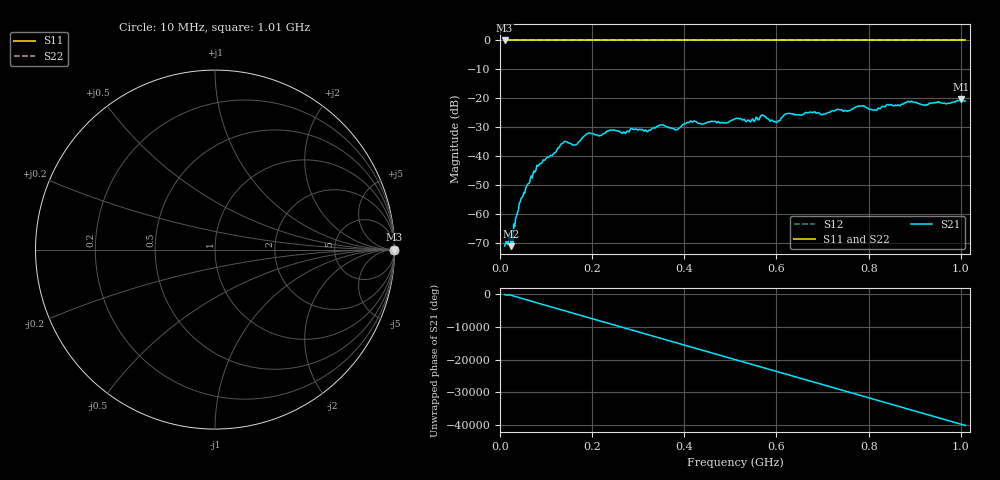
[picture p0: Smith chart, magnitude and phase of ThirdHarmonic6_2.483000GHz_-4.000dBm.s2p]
! 8/17/2025 4:38:42 AM
! C:\ANRITSUVNA\TEMP\TEMP.S2P
! CHANNEL.1
! TR.MEASUREMENT
! RAW.DATA
! RF.CORRECTION.OFF
! AVERAGING.OFF
! IF.BANDWIDTH: 5KHZ
! SWEEPTYPE:  FREQ.SWEEP(Linear)
! Reference Plane Port Info
! PORT:  PORT1  PORT2
! DISTANCE:  0  m  0  m
! TIME:  0  s  0  s
! PHASE.OFFSET:  0  deg.  0  deg.
! LOSS:  0  dB  0  dB
! REF.LOSS:  0  dB  0  dB
! REF.FREQ:  0  Hz  0  Hz
! Power Info
! POWER:  -20  dBm  -20  dBm
! EFF.POWER:  -20  dBm  -20  dBm
! SOURCE.ATTEN:  0  dB  0  dB
! TEST.ATTEN:  0  dB  0  dB
# GHZ S RI R 50.0
! FREQ.GHZ  S11RE  S11IM  S21RE  S21IM  S12RE  S12IM  S22RE  S22IM
!; PortSelection: Port_12
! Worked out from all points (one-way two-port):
!   501 points, 10 MHz to 1.01 GHz, reference 50 ohm
!   highest |S21| = -20.25 dB at 1 GHz (marker M1); lowest = -71.2 dB at 24 MHz (marker M2)
!   lowest |S11| = 0.0 dB at 10 MHz (marker M3)
!   |S11| at or under -10 dB: nowhere
!   |S22| runs from 0.0 to 0.0 dB; largest |S21 - S12| = 1.1
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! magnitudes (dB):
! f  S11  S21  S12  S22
! 10 MHz  0.0  -71.1  0.0  0.0
! 24 MHz  0.0  -71.2  0.0  0.0
! 46 MHz  0.0  -54.6  0.0  0.0
! 84 MHz  0.0  -43.1  0.0  0.0
! 138 MHz  0.0  -35.2  0.0  0.0
! 162 MHz  0.0  -36.2  0.0  0.0
! 178 MHz  0.0  -33.8  0.0  0.0
! 192 MHz  0.0  -32.0  0.0  0.0
! 322 MHz  0.0  -31.2  0.0  0.0
! 344 MHz  0.0  -29.5  0.0  0.0
! 384 MHz  0.0  -30.9  0.0  0.0
! 410 MHz  0.0  -28.4  0.0  0.0
! 510 MHz  0.0  -27.1  0.0  0.0
! 570 MHz  0.0  -25.9  0.0  0.0
! 598 MHz  0.0  -28.2  0.0  0.0
! 622 MHz  0.0  -25.4  0.0  0.0
! 678 MHz  0.0  -24.9  0.0  0.0
! 784 MHz  0.0  -22.7  0.0  0.0
! 814 MHz  0.0  -24.0  0.0  0.0
! 844 MHz  0.0  -22.4  0.0  0.0
! 1 GHz  0.0  -20.3  0.0  0.0
! 1.01 GHz  0.0  -20.9  0.0  0.0
